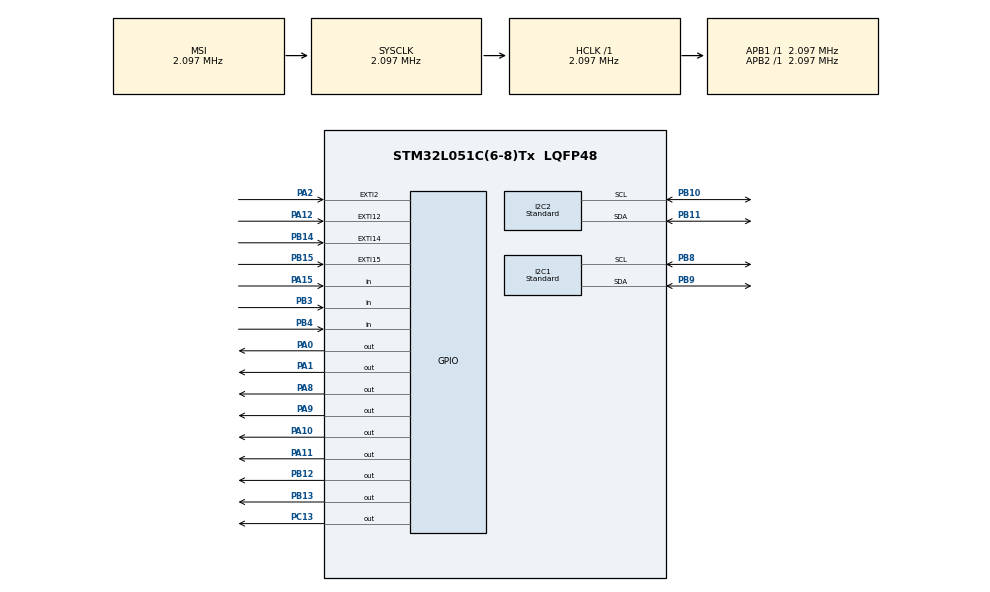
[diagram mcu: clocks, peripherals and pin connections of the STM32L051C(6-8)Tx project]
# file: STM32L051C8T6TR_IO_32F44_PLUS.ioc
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I2C1.I2C_Speed_Mode=I2C_Standard
I2C1.OwnAddress=0x40
I2C2.I2C_Speed_Mode=I2C_Standard
I2C2.OwnAddress=0x40
Mcu.Family=STM32L0
Mcu.Name=STM32L051C(6-8)Tx
Mcu.Package=LQFP48
NVIC.EXTI2_3_IRQn=true\:0\:0\:false\:false\:true\:true\:true\:true
NVIC.EXTI4_15_IRQn=true\:0\:0\:false\:false\:true\:true\:true\:true
NVIC.I2C1_IRQn=true\:1\:0\:true\:false\:true\:true\:true\:true
NVIC.I2C2_IRQn=true\:1\:0\:true\:false\:true\:true\:true\:true
PA0.Signal=GPIO_Output
PA1.Signal=GPIO_Output
PA10.Signal=GPIO_Output
PA11.Signal=GPIO_Output
PA12.GPIO_ModeDefaultEXTI=GPIO_MODE_IT_RISING_FALLING
PA12.Signal=GPXTI12
PA15.Signal=GPIO_Input
PA2.GPIO_ModeDefaultEXTI=GPIO_MODE_IT_RISING_FALLING
PA2.Signal=GPXTI2
PA8.Signal=GPIO_Output
PA9.Signal=GPIO_Output
PB10.Mode=I2C
PB10.Signal=I2C2_SCL
PB11.Mode=I2C
PB11.Signal=I2C2_SDA
PB12.Signal=GPIO_Output
PB13.Signal=GPIO_Output
PB14.GPIO_ModeDefaultEXTI=GPIO_MODE_IT_RISING_FALLING
PB14.Signal=GPXTI14
PB15.GPIO_ModeDefaultEXTI=GPIO_MODE_IT_RISING_FALLING
PB15.Signal=GPXTI15
PB3.Signal=GPIO_Input
PB4.Signal=GPIO_Input
PB8.Mode=I2C
PB8.Signal=I2C1_SCL
PB9.Mode=I2C
PB9.Signal=I2C1_SDA
PC13.Signal=GPIO_Output
ProjectManager.HeapSize=0x200
ProjectManager.StackSize=0x400
ProjectManager.TargetToolchain=STM32CubeIDE
RCC.AHBFreq_Value=2097000
RCC.APB1Freq_Value=2097000
RCC.APB1TimFreq_Value=2097000
RCC.APB2Freq_Value=2097000
RCC.APB2TimFreq_Value=2097000
RCC.HCLKFreq_Value=2097000
RCC.HSE_VALUE=8000000
RCC.HSI16_VALUE=16000000
RCC.HSI_VALUE=16000000
RCC.LSE_VALUE=32768
RCC.MSI_VALUE=2097000
RCC.PLLMUL=RCC_PLLMUL_4
RCC.SYSCLKFreq_VALUE=2097000
RCC.VCOOutputFreq_Value=64000000
board=custom

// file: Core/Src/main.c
/* USER CODE BEGIN Header */
/**
  ******************************************************************************
  * @file           : main.c
  * @brief          : Main program body
  ******************************************************************************
  * @attention
  *
  * Copyright (c) 2023 STMicroelectronics.
  * All rights reserved.
  *
  * This software is licensed under terms that can be found in the LICENSE file
  * in the root directory of this software component.
  * If no LICENSE file comes with this software, it is provided AS-IS.
  *
  ******************************************************************************
  */
/* USER CODE END Header */
#include "main.h"

/* USER CODE BEGIN Includes */
#include "mygpio.h"
#include "mytimer.h"
#include "mytimeloop.h"
#include "ina233.h"
/* USER CODE END Includes */

/* USER CODE BEGIN PTD */
typedef enum
{
	//000XXXXX
	ADDRESS_PinState 	= 0x01,
	ALM_RELE_PinState 	= 0x02,
	FAULT_RELE_PinState = 0x03,
	CMD_RELE_PinState 	= 0x04,
	//100XXXXX: INA1 (0x80)
	INA1_VIN_UV_mV_LSB 	= 0x80,
	INA1_VIN_UV_mV_MSB 	= 0x81,
	INA1_VIN_OV_mV_LSB 	= 0x82,
	INA1_VIN_OV_mV_MSB 	= 0x83,
	INA1_IIN_OV_uV_LSB 	= 0x84,
	INA1_IIN_OV_uV_XXB	= 0x85,
	INA1_IIN_OV_uV_MSB 	= 0x86,
	INA1_ASSIGN_WARN_LIMIT = 0x87,
	//101XXXXX: INA2 (0xA0)
	INA2_VIN_UV_mV_LSB 	= 0xA0,
	INA2_VIN_UV_mV_MSB 	= 0xA1,
	INA2_VIN_OV_mV_LSB 	= 0xA2,
	INA2_VIN_OV_mV_MSB 	= 0xA3,
	INA2_IIN_OV_uV_LSB 	= 0xA4,
	INA2_IIN_OV_uV_XXB	= 0xA5,
	INA2_IIN_OV_uV_MSB 	= 0xA6,
	INA2_ASSIGN_WARN_LIMIT = 0xA7,
	//101XXXXX: INA2 (0xC0)
	INA3_VIN_UV_mV_LSB 	= 0xC0,
	INA3_VIN_UV_mV_MSB 	= 0xC1,
	INA3_VIN_OV_mV_LSB 	= 0xC2,
	INA3_VIN_OV_mV_MSB 	= 0xC3,
	INA3_IIN_OV_uV_LSB 	= 0xC4,
	INA3_IIN_OV_uV_XXB	= 0x85,
	INA3_IIN_OV_uV_MSB 	= 0xC6,
	INA3_ASSIGN_WARN_LIMIT = 0xC7,
	//111XXXXX: INA2 (0xE0)
	INA4_VIN_UV_mV_LSB 	= 0xE0,
	INA4_VIN_UV_mV_MSB 	= 0xE1,
	INA4_VIN_OV_mV_LSB 	= 0xE2,
	INA4_VIN_OV_mV_MSB 	= 0xE3,
	INA4_IIN_OV_uV_LSB 	= 0xE4,
	INA4_IIN_OV_uV_XXB	= 0x85,
	INA4_IIN_OV_uV_MSB 	= 0xE6,
	INA4_ASSIGN_WARN_LIMIT = 0xC7,
} CONTROL_Index;
/* USER CODE END PTD */

/* USER CODE BEGIN PD */
#define INA233_SIZE		5
#define ADDRESS_SIZE	4
#define CONTROL_SIZE	256
/* USER CODE END PD */

I2C_HandleTypeDef hi2c1;
I2C_HandleTypeDef hi2c2;

/* USER CODE BEGIN PV */
MyGPIO ALM_RELE[INA233_SIZE];
MyGPIO FAULT_RELE[INA233_SIZE];
MyGPIO CMD_RELE[INA233_SIZE];
MyGPIO ADDRESS[ADDRESS_SIZE];
MyGPIO EXT_INT;

INA233 INA[INA233_SIZE];

uint8_t CONTROL[CONTROL_SIZE];

TimeLoop INA_TimeLoop;

//Per inviare messaggi come CLEAR_FAULTS
uint8_t i2c2_Data;

//Per gestire HAL_I2C_AddrCallback(..)
uint8_t rxcount;
uint8_t txcount;
uint8_t i2c1_Register;
/* USER CODE END PV */

void SystemClock_Config(void);
static void MX_GPIO_Init(void);
static void MX_I2C2_Init(void);
static void MX_I2C1_Init(void);
/* USER CODE BEGIN PFP */
void MYGPIO_ALM_RELE_Init(MyGPIO* Self);
void MYGPIO_CMD_RELE_Init(MyGPIO* Self);
void MYGPIO_FAULT_RELE_Init(MyGPIO* Self);
void MYGPIO_ADDRESS_Init(MyGPIO* Self);
void MYGPIO_EXT_INT_Init(MyGPIO* Self);
void MX_GPIO_I2C_OwnAddress1_Update(I2C_HandleTypeDef* hi2c, uint8_t ADDRESS1_PinState, uint8_t ADDRESS2_PinState, uint8_t ADDRESS3_PinState);
void CMD_RELE_Update(MyGPIO* Self, uint8_t Rele_IDNumber, uint8_t ReleControl);
void CONTROL_Init();

void HAL_I2C_AddrCallback(I2C_HandleTypeDef *hi2c, uint8_t transferDirection, uint16_t addressMatchCode);
void HAL_I2C_ListenCpltCallback(I2C_HandleTypeDef *hi2c);
/* USER CODE END PFP */

int main(void)
{

  /* MCU Configuration--------------------------------------------------------*/

  /* Reset of all peripherals, Initializes the Flash interface and the Systick. */
  HAL_Init();

  /* Configure the system clock */
  SystemClock_Config();

  /* Initialize all configured peripherals */
  MX_GPIO_Init();
  MX_I2C2_Init();
  MX_I2C1_Init();
  /* USER CODE BEGIN 2 */
  MYGPIO_ADDRESS_Init((MyGPIO*) ADDRESS);
  MYGPIO_ALM_RELE_Init((MyGPIO*) ALM_RELE);
  MYGPIO_CMD_RELE_Init((MyGPIO*) CMD_RELE);
  MYGPIO_FAULT_RELE_Init((MyGPIO*) FAULT_RELE);
  MYGPIO_EXT_INT_Init((MyGPIO*) &EXT_INT);

  for(uint8_t i = 1; i < INA233_SIZE; i++)
	  INA233_Init(&INA[i], (0x40 + i - 1) << 1);

  //Esempio di aggiornamento warn limit
  INA[2].VIN_UV_mV = 1000;
  INA[2].VIN_OV_mV = 2000;

  INA[1].VIN_UV_mV = 1000;
  INA[1].VIN_OV_mV = 2000;

  for(uint8_t i = 1; i < INA233_SIZE; i++)
  {
	  i2c2_Data = RESTORE_DEFAULT_ALL;
	  HAL_I2C_Master_Transmit(&hi2c2, INA[i].Address, (uint8_t *)&i2c2_Data, 1, 1000);

	  INA233_WARN_LIMIT_Conversion(&INA[i]);

	  HAL_I2C_Mem_Write(&hi2c2, INA[i].Address, MFR_CALIBRATION, 1, (uint8_t *)&INA[i].Calibration, 2, 1000);
	  HAL_I2C_Mem_Write(&hi2c2, INA[i].Address, VIN_UV_WARN_LIMIT, 1, (uint8_t *)&INA[i].VIN_UV, 2, 1000);
	  HAL_I2C_Mem_Write(&hi2c2, INA[i].Address, VIN_OV_WARN_LIMIT, 1, (uint8_t *)&INA[i].VIN_OV, 2, 1000);
	  HAL_I2C_Mem_Write(&hi2c2, INA[i].Address, IOUT_OC_WARN_LIMIT, 1, (uint8_t *)&INA[i].IIN_OV, 2, 1000);
  }

  // CONTROL_Init()
  for(uint8_t i = 1; i < INA233_SIZE; i++)
  {
	  CONTROL[INA1_VIN_UV_mV_LSB + 0x20 *(i - 1)] = (INA[i].VIN_UV_mV & 0x00FF);
	  CONTROL[INA1_VIN_UV_mV_MSB + 0x20 *(i - 1)] = (INA[i].VIN_UV_mV & 0xFF00);
	  CONTROL[INA1_VIN_OV_mV_LSB + 0x20 *(i - 1)] = (INA[i].VIN_OV_mV & 0x00FF);
	  CONTROL[INA1_VIN_OV_mV_MSB + 0x20 *(i - 1)] = (INA[i].VIN_OV_mV & 0xFF00);
	  CONTROL[INA1_IIN_OV_uV_LSB + 0x20 *(i - 1)] = (INA[i].IIN_OV_uV & 0x00FF);
	  CONTROL[INA1_IIN_OV_uV_MSB + 0x20 *(i - 1)] = (INA[i].IIN_OV_uV & 0xFF00);
  }

  MYTIMELOOP_Init(&INA_TimeLoop, 500, uwTick);
  /* USER CODE END 2 */

  /* Infinite loop */
  /* USER CODE BEGIN WHILE */
  while (1)
  {
	  //Address update
	  for(uint8_t i = 1; i < ADDRESS_SIZE; i++)
		  MYGPIO_PinState_Update(&ADDRESS[i]);
	  CONTROL[ADDRESS_PinState] = (ADDRESS[1].PinState << 0) + (ADDRESS[2].PinState << 1) + (ADDRESS[3].PinState << 2);
	  MX_GPIO_I2C_OwnAddress1_Update(&hi2c1, ADDRESS[1].PinState, ADDRESS[2].PinState, ADDRESS[3].PinState);
	  //Abilita la possibilità di rispondere in I2C
	  HAL_I2C_EnableListen_IT(&hi2c1);

#if 0
	  //Alarm - Fault Rele Update
		for(uint8_t i = 1; i < INA233_SIZE; i++)
		{
			MYGPIO_PinState_Update(&ALM_RELE[i]);
			FAULT_RELE[i].PinState = !(ALM_RELE[i].PinState);
			MYGPIO_PinState_Update(&FAULT_RELE[i]);
		}

		CONTROL[ALM_RELE_PinState] = (ALM_RELE[1].PinState << 0) + (ALM_RELE[2].PinState << 1) + (ALM_RELE[3].PinState << 2) + (ALM_RELE[4].PinState << 3);
		CONTROL[FAULT_RELE_PinState] = (FAULT_RELE[1].PinState << 0) + (FAULT_RELE[2].PinState << 1) + (FAULT_RELE[3].PinState << 2) + (FAULT_RELE[4].PinState << 3);

		EXT_INT.PinState = !(CONTROL[ALM_RELE_PinState]);
		MYGPIO_PinState_Update(&EXT_INT);
#endif

	  //CMD_RELE_Update
	  for(uint8_t i = 1; i < INA233_SIZE; i++)
	  {
		  CMD_RELE_Update(&CMD_RELE[i], i, CONTROL[CMD_RELE_PinState]);
		  MYGPIO_PinState_Update(&CMD_RELE[i]);
	  }

	  //INA_WARN_LIMIT_Update()
	  for(uint8_t i = 1; i < INA233_SIZE; i++)
	  {
		  if(CONTROL[INA1_ASSIGN_WARN_LIMIT + 0x20 * (i - 1)])
		  {
			  INA[i].VIN_UV_mV = (CONTROL[INA1_VIN_UV_mV_MSB + 0x20 * (i - 1)] << 8) + (CONTROL[INA1_VIN_UV_mV_LSB + 0x20 * (i - 1)] << 0);
			  INA[i].VIN_OV_mV = (CONTROL[INA1_VIN_OV_mV_MSB + 0x20 * (i - 1)] << 8) + (CONTROL[INA1_VIN_OV_mV_LSB + 0x20 * (i - 1)] << 0);
			  INA[i].IIN_OV_uV = (CONTROL[INA1_IIN_OV_uV_MSB + 0x20 * (i - 1)] << 8) + (CONTROL[INA1_IIN_OV_uV_XXB + 0x20 * (i - 1)] << 8) +(CONTROL[INA1_IIN_OV_uV_LSB + 0x20 * (i - 1)] << 0);

			  i2c2_Data = RESTORE_DEFAULT_ALL;
			  HAL_I2C_Master_Transmit(&hi2c2, INA[i].Address, (uint8_t *)&i2c2_Data, 1, 1000);

			  INA233_WARN_LIMIT_Conversion(&INA[i]);

			  HAL_I2C_Mem_Write(&hi2c2, INA[i].Address, MFR_CALIBRATION, 1, (uint8_t *)&INA[i].Calibration, 2, 1000);
			  HAL_I2C_Mem_Write(&hi2c2, INA[i].Address, VIN_UV_WARN_LIMIT, 1, (uint8_t *)&INA[i].VIN_UV, 2, 1000);
			  HAL_I2C_Mem_Write(&hi2c2, INA[i].Address, VIN_OV_WARN_LIMIT, 1, (uint8_t *)&INA[i].VIN_OV, 2, 1000);
			  HAL_I2C_Mem_Write(&hi2c2, INA[i].Address, IOUT_OC_WARN_LIMIT, 1, (uint8_t *)&INA[i].IIN_OV, 2, 1000);

			  CONTROL[INA1_ASSIGN_WARN_LIMIT + 0x20 * (i - 1)] = 0;
		  }
	  }

	  if(MYTIMELOOP_Run(&INA_TimeLoop, uwTick))
	  {
		  for(uint8_t i = 1; i < INA233_SIZE; i++)
		  {
			  //azzerra i fault
			  i2c2_Data = CLEAR_FAULTS;
			  HAL_I2C_Master_Transmit(&hi2c2, INA[i].Address, (uint8_t *)&i2c2_Data, 1, 1000);
			  //interroga l'adc
			  HAL_I2C_Mem_Read(&hi2c2, INA[i].Address, READ_VIN, 1, (uint8_t *)&INA[i].VIN, 2, 1000);
			  HAL_I2C_Mem_Read(&hi2c2, INA[i].Address, READ_IIN, 1, (uint8_t *)&INA[i].IIN, 2, 1000);
			  //converte i valori ottenuti
			  INA233_VIN_Conversion(&INA[i]);
			  INA233_IIN_Conversion(&INA[i]);
		  }
	  }
    /* USER CODE END WHILE */

  }
}

void SystemClock_Config(void)
{
  RCC_OscInitTypeDef RCC_OscInitStruct = {0};
  RCC_ClkInitTypeDef RCC_ClkInitStruct = {0};
  RCC_PeriphCLKInitTypeDef PeriphClkInit = {0};

  /** Configure the main internal regulator output voltage
  */
  __HAL_PWR_VOLTAGESCALING_CONFIG(PWR_REGULATOR_VOLTAGE_SCALE1);

  /** Initializes the RCC Oscillators according to the specified parameters
  * in the RCC_OscInitTypeDef structure.
  */
  RCC_OscInitStruct.OscillatorType = RCC_OSCILLATORTYPE_MSI;
  RCC_OscInitStruct.MSIState = RCC_MSI_ON;
  RCC_OscInitStruct.MSICalibrationValue = 0;
  RCC_OscInitStruct.MSIClockRange = RCC_MSIRANGE_5;
  RCC_OscInitStruct.PLL.PLLState = RCC_PLL_NONE;
  if (HAL_RCC_OscConfig(&RCC_OscInitStruct) != HAL_OK)
  {
    Error_Handler();
  }

  /** Initializes the CPU, AHB and APB buses clocks
  */
  RCC_ClkInitStruct.ClockType = RCC_CLOCKTYPE_HCLK|RCC_CLOCKTYPE_SYSCLK
                              |RCC_CLOCKTYPE_PCLK1|RCC_CLOCKTYPE_PCLK2;
  RCC_ClkInitStruct.SYSCLKSource = RCC_SYSCLKSOURCE_MSI;
  RCC_ClkInitStruct.AHBCLKDivider = RCC_SYSCLK_DIV1;
  RCC_ClkInitStruct.APB1CLKDivider = RCC_HCLK_DIV1;
  RCC_ClkInitStruct.APB2CLKDivider = RCC_HCLK_DIV1;

  if (HAL_RCC_ClockConfig(&RCC_ClkInitStruct, FLASH_LATENCY_0) != HAL_OK)
  {
    Error_Handler();
  }
  PeriphClkInit.PeriphClockSelection = RCC_PERIPHCLK_I2C1;
  PeriphClkInit.I2c1ClockSelection = RCC_I2C1CLKSOURCE_PCLK1;
  if (HAL_RCCEx_PeriphCLKConfig(&PeriphClkInit) != HAL_OK)
  {
    Error_Handler();
  }
}

static void MX_I2C1_Init(void)
{

  hi2c1.Instance = I2C1;
  hi2c1.Init.Timing = 0x00000708;
  hi2c1.Init.OwnAddress1 = 128;
  hi2c1.Init.AddressingMode = I2C_ADDRESSINGMODE_7BIT;
  hi2c1.Init.DualAddressMode = I2C_DUALADDRESS_DISABLE;
  hi2c1.Init.OwnAddress2 = 0;
  hi2c1.Init.OwnAddress2Masks = I2C_OA2_NOMASK;
  hi2c1.Init.GeneralCallMode = I2C_GENERALCALL_DISABLE;
  hi2c1.Init.NoStretchMode = I2C_NOSTRETCH_DISABLE;
  if (HAL_I2C_Init(&hi2c1) != HAL_OK)
  {
    Error_Handler();
  }

  /** Configure Analogue filter
  */
  if (HAL_I2CEx_ConfigAnalogFilter(&hi2c1, I2C_ANALOGFILTER_ENABLE) != HAL_OK)
  {
    Error_Handler();
  }

  /** Configure Digital filter
  */
  if (HAL_I2CEx_ConfigDigitalFilter(&hi2c1, 0) != HAL_OK)
  {
    Error_Handler();
  }

}

static void MX_I2C2_Init(void)
{

  hi2c2.Instance = I2C2;
  hi2c2.Init.Timing = 0x00000708;
  hi2c2.Init.OwnAddress1 = 128;
  hi2c2.Init.AddressingMode = I2C_ADDRESSINGMODE_7BIT;
  hi2c2.Init.DualAddressMode = I2C_DUALADDRESS_DISABLE;
  hi2c2.Init.OwnAddress2 = 0;
  hi2c2.Init.OwnAddress2Masks = I2C_OA2_NOMASK;
  hi2c2.Init.GeneralCallMode = I2C_GENERALCALL_DISABLE;
  hi2c2.Init.NoStretchMode = I2C_NOSTRETCH_DISABLE;
  if (HAL_I2C_Init(&hi2c2) != HAL_OK)
  {
    Error_Handler();
  }

  /** Configure Analogue filter
  */
  if (HAL_I2CEx_ConfigAnalogFilter(&hi2c2, I2C_ANALOGFILTER_ENABLE) != HAL_OK)
  {
    Error_Handler();
  }

  /** Configure Digital filter
  */
  if (HAL_I2CEx_ConfigDigitalFilter(&hi2c2, 0) != HAL_OK)
  {
    Error_Handler();
  }

}

static void MX_GPIO_Init(void)
{
  GPIO_InitTypeDef GPIO_InitStruct = {0};

  /* GPIO Ports Clock Enable */
  __HAL_RCC_GPIOC_CLK_ENABLE();
  __HAL_RCC_GPIOA_CLK_ENABLE();
  __HAL_RCC_GPIOB_CLK_ENABLE();

  /*Configure GPIO pin Output Level */
  HAL_GPIO_WritePin(GPIOC, GPIO_PIN_13, GPIO_PIN_RESET);

  /*Configure GPIO pin Output Level */
  HAL_GPIO_WritePin(GPIOA, GPIO_PIN_0|GPIO_PIN_1|GPIO_PIN_8|GPIO_PIN_9
                          |GPIO_PIN_10|GPIO_PIN_11, GPIO_PIN_RESET);

  /*Configure GPIO pin Output Level */
  HAL_GPIO_WritePin(GPIOB, GPIO_PIN_12|GPIO_PIN_13, GPIO_PIN_RESET);

  /*Configure GPIO pin : PC13 */
  GPIO_InitStruct.Pin = GPIO_PIN_13;
  GPIO_InitStruct.Mode = GPIO_MODE_OUTPUT_PP;
  GPIO_InitStruct.Pull = GPIO_NOPULL;
  GPIO_InitStruct.Speed = GPIO_SPEED_FREQ_LOW;
  HAL_GPIO_Init(GPIOC, &GPIO_InitStruct);

  /*Configure GPIO pins : PA0 PA1 PA8 PA9
                           PA10 PA11 */
  GPIO_InitStruct.Pin = GPIO_PIN_0|GPIO_PIN_1|GPIO_PIN_8|GPIO_PIN_9
                          |GPIO_PIN_10|GPIO_PIN_11;
  GPIO_InitStruct.Mode = GPIO_MODE_OUTPUT_PP;
  GPIO_InitStruct.Pull = GPIO_NOPULL;
  GPIO_InitStruct.Speed = GPIO_SPEED_FREQ_LOW;
  HAL_GPIO_Init(GPIOA, &GPIO_InitStruct);

  /*Configure GPIO pins : PA2 PA12 */
  GPIO_InitStruct.Pin = GPIO_PIN_2|GPIO_PIN_12;
  GPIO_InitStruct.Mode = GPIO_MODE_IT_RISING_FALLING;
  GPIO_InitStruct.Pull = GPIO_NOPULL;
  HAL_GPIO_Init(GPIOA, &GPIO_InitStruct);

  /*Configure GPIO pins : PB12 PB13 */
  GPIO_InitStruct.Pin = GPIO_PIN_12|GPIO_PIN_13;
  GPIO_InitStruct.Mode = GPIO_MODE_OUTPUT_PP;
  GPIO_InitStruct.Pull = GPIO_NOPULL;
  GPIO_InitStruct.Speed = GPIO_SPEED_FREQ_LOW;
  HAL_GPIO_Init(GPIOB, &GPIO_InitStruct);

  /*Configure GPIO pins : PB14 PB15 */
  GPIO_InitStruct.Pin = GPIO_PIN_14|GPIO_PIN_15;
  GPIO_InitStruct.Mode = GPIO_MODE_IT_RISING_FALLING;
  GPIO_InitStruct.Pull = GPIO_NOPULL;
  HAL_GPIO_Init(GPIOB, &GPIO_InitStruct);

  /*Configure GPIO pin : PA15 */
  GPIO_InitStruct.Pin = GPIO_PIN_15;
  GPIO_InitStruct.Mode = GPIO_MODE_INPUT;
  GPIO_InitStruct.Pull = GPIO_NOPULL;
  HAL_GPIO_Init(GPIOA, &GPIO_InitStruct);

  /*Configure GPIO pins : PB3 PB4 */
  GPIO_InitStruct.Pin = GPIO_PIN_3|GPIO_PIN_4;
  GPIO_InitStruct.Mode = GPIO_MODE_INPUT;
  GPIO_InitStruct.Pull = GPIO_NOPULL;
  HAL_GPIO_Init(GPIOB, &GPIO_InitStruct);

  /* EXTI interrupt init*/
  HAL_NVIC_SetPriority(EXTI2_3_IRQn, 0, 0);
  HAL_NVIC_EnableIRQ(EXTI2_3_IRQn);

  HAL_NVIC_SetPriority(EXTI4_15_IRQn, 0, 0);
  HAL_NVIC_EnableIRQ(EXTI4_15_IRQn);

}

/* USER CODE BEGIN 4 */
void MYGPIO_ALM_RELE_Init(MyGPIO* Self)
{
	MYGPIO_Init(&Self[1], GPIOB, GPIO_PIN_15, INPUT);
	MYGPIO_Init(&Self[2], GPIOA, GPIO_PIN_2, INPUT);
	MYGPIO_Init(&Self[3], GPIOA, GPIO_PIN_12, INPUT);
	MYGPIO_Init(&Self[4], GPIOB, GPIO_PIN_14, INPUT);
}

void MYGPIO_CMD_RELE_Init(MyGPIO* Self)
{
	MYGPIO_Init(&Self[1], GPIOA, GPIO_PIN_8, OUTPUT);
	MYGPIO_Init(&Self[2], GPIOA, GPIO_PIN_1, OUTPUT);
	MYGPIO_Init(&Self[3], GPIOA, GPIO_PIN_11, OUTPUT);
	MYGPIO_Init(&Self[4], GPIOB, GPIO_PIN_13, OUTPUT);
}

void MYGPIO_FAULT_RELE_Init(MyGPIO* Self)
{
	MYGPIO_Init(&Self[1], GPIOA, GPIO_PIN_9, OUTPUT);
	MYGPIO_Init(&Self[2], GPIOA, GPIO_PIN_0, OUTPUT);
	MYGPIO_Init(&Self[3], GPIOA, GPIO_PIN_10, OUTPUT);
	MYGPIO_Init(&Self[4], GPIOB, GPIO_PIN_12, OUTPUT);
}

void MYGPIO_ADDRESS_Init(MyGPIO* ADDRESS)
{
	MYGPIO_Init(&ADDRESS[1], GPIOA, GPIO_PIN_15, INPUT);
	MYGPIO_Init(&ADDRESS[2], GPIOB, GPIO_PIN_3, INPUT);
	MYGPIO_Init(&ADDRESS[3], GPIOB, GPIO_PIN_4, INPUT);
}

void MYGPIO_EXT_INT_Init(MyGPIO* EXT_INT)
{
	MYGPIO_Init(EXT_INT, GPIOC, GPIO_PIN_13, OUTPUT);
}

void MX_GPIO_I2C_OwnAddress1_Update(I2C_HandleTypeDef* hi2c, uint8_t ADDRESS1_PinState, uint8_t ADDRESS2_PinState, uint8_t ADDRESS3_PinState)
{
	uint8_t hi2c_Init_OwnAddress1 = 0x40;
	hi2c_Init_OwnAddress1 += (ADDRESS1_PinState << 0);
	hi2c_Init_OwnAddress1 += (ADDRESS2_PinState << 1);
	hi2c_Init_OwnAddress1 += (ADDRESS3_PinState << 2);
	hi2c_Init_OwnAddress1 = hi2c_Init_OwnAddress1 << 1;

	//Update I2C Slave Address
	if(hi2c->Init.OwnAddress1 != hi2c_Init_OwnAddress1)
	{
		hi2c->Init.OwnAddress1 = hi2c_Init_OwnAddress1;
		if (HAL_I2C_Init(hi2c) != HAL_OK)
		{
		Error_Handler();
		}

		/** Configure Analogue filter
		*/
		if (HAL_I2CEx_ConfigAnalogFilter(hi2c, I2C_ANALOGFILTER_ENABLE) != HAL_OK)
		{
		Error_Handler();
		}

		/** Configure Digital filter
		*/
		if (HAL_I2CEx_ConfigDigitalFilter(hi2c, 0) != HAL_OK)
		{
		Error_Handler();
		}
	}
}

void CMD_RELE_Update(MyGPIO* Self, uint8_t Rele_IDNumber, uint8_t ReleControl)
{
	uint8_t BitPosition = 1 << (Rele_IDNumber - 1);
	Self->PinState = (BitPosition & ReleControl);
}

void HAL_I2C_AddrCallback(I2C_HandleTypeDef *hi2c, uint8_t TransferDirection, uint16_t AddrMatchCode)
{
	if (TransferDirection == I2C_DIRECTION_TRANSMIT)  // if the master wants to transmit the data
	{
		rxcount = 0;
		HAL_I2C_Slave_Seq_Receive_IT(hi2c, (uint8_t *)&i2c1_Register, 1, I2C_FIRST_FRAME);
	}
	else
	{
		txcount = 0;
		HAL_I2C_Slave_Seq_Transmit_IT(hi2c, (uint8_t *)&CONTROL[i2c1_Register + txcount], 1, I2C_FIRST_FRAME);
	}
}

void HAL_I2C_SlaveTxCpltCallback(I2C_HandleTypeDef *hi2c)
{
	txcount++;
	HAL_I2C_Slave_Seq_Transmit_IT(hi2c, (uint8_t *)&CONTROL[i2c1_Register + txcount], 1, I2C_NEXT_FRAME);
}

void HAL_I2C_SlaveRxCpltCallback(I2C_HandleTypeDef *hi2c)
{
	HAL_I2C_Slave_Seq_Receive_IT(hi2c, (uint8_t *)&CONTROL[i2c1_Register + rxcount], 1, I2C_NEXT_FRAME);

	rxcount++;
}

void HAL_I2C_ListenCpltCallback(I2C_HandleTypeDef *hi2c)
{
	HAL_I2C_EnableListen_IT(hi2c);
}

void HAL_I2C_ErrorCallback(I2C_HandleTypeDef *hi2c)
{
	if (HAL_I2C_GetError(hi2c) == 0x04)  // AF error
	{

	}

	/* BERR Error commonly occurs during the Direction switch
	 * Here we the software reset bit is set by the HAL error handler
	 * Before resetting this bit, we make sure the I2C lines are released and the bus is free
	 * I am simply reinitializing the I2C to do so
	 */
	else if (HAL_I2C_GetError(hi2c) == 0x01)  // BERR Error
	{
		HAL_I2C_DeInit(hi2c);
		HAL_I2C_Init(hi2c);
		rxcount = 0;  // reset the count
	}

	HAL_I2C_EnableListen_IT(hi2c);
}

void HAL_GPIO_EXTI_Callback(uint16_t GPIO_Pin)
{
	for(uint8_t i = 1; i < INA233_SIZE; i++)
	{
		MYGPIO_PinState_Update(&ALM_RELE[i]);
		FAULT_RELE[i].PinState = !(ALM_RELE[i].PinState);
		MYGPIO_PinState_Update(&FAULT_RELE[i]);
	}

	CONTROL[ALM_RELE_PinState] = (ALM_RELE[1].PinState << 0) + (ALM_RELE[2].PinState << 1) + (ALM_RELE[3].PinState << 2) + (ALM_RELE[4].PinState << 3);
	CONTROL[FAULT_RELE_PinState] = (FAULT_RELE[1].PinState << 0) + (FAULT_RELE[2].PinState << 1) + (FAULT_RELE[3].PinState << 2) + (FAULT_RELE[4].PinState << 3);

	EXT_INT.PinState = !(CONTROL[FAULT_RELE_PinState]);
	MYGPIO_PinState_Update(&EXT_INT);
}
/* USER CODE END 4 */

void Error_Handler(void)
{
  __disable_irq();
  while (1)
  {
  }
}
